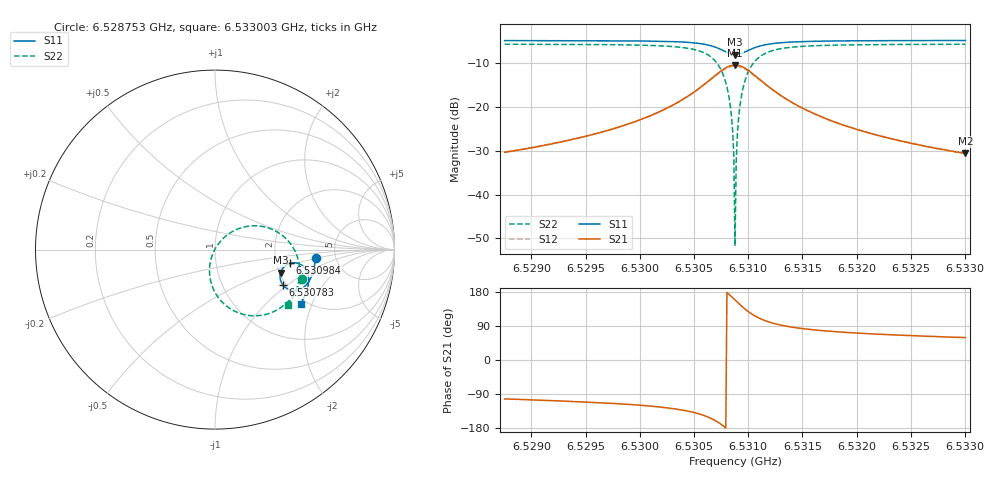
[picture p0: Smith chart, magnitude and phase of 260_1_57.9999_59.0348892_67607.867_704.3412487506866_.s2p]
#  HZ  S  RI  R  50.00
! Rohde & Schwarz Vector Network Analyzer
! Rohde-Schwarz,ZNB20-2Port,1311601062101988,3.16
! Created: UTC 3/21/2024, 1:01:56 AM
! freq[Hz]  re:S11  im:S11  re:S21  im:S21  re:S12  im:S12  re:S22  im:S22
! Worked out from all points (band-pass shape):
!   401 points, 6.528753 GHz to 6.533003 GHz, reference 50 ohm
!   highest |S21| = -10.55 dB at 6.530878 GHz (marker M1); lowest = -30.6 dB at 6.533003 GHz (marker M2)
!   |S21| within 3 dB of the highest: 6.530666 GHz to 6.531091 GHz (425.5 kHz wide, 0.00652 % of centre)
!   lowest |S11| = -8.2 dB at 6.530878 GHz (marker M3), VSWR 2.26, Z = 101 - j30.7 ohm
!   |S11| at or under -10 dB: nowhere
!   |S22| runs from -51.7 to -5.8 dB; largest |S21 - S12| = 0.012
!   S11 on the Smith chart (normalised r, x): 6.528753 GHz: 3.50, -0.48; 6.530783 GHz: 1.92, -0.92; 6.530984 GHz: 2.38, -0.44; 6.533003 GHz: 1.87, -1.65
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6.5287534e9  0.5602 -0.0468  -0.00666 -0.0295  -0.00718 -0.0294  0.4838 -0.1646
6.5294652e9  0.5509 -0.1058  -0.0157 -0.0419  -0.0167 -0.0417  0.4534 -0.229
6.530177e9  0.5242 -0.1758  -0.0483 -0.072  -0.0502 -0.0706  0.3736 -0.3183
6.530602e9  0.4555 -0.2263  -0.1528 -0.0975  -0.1551 -0.0913  0.1729 -0.3643
6.5307082e9  0.4118 -0.222  -0.2203 -0.072  -0.2197 -0.0629  0.0593 -0.3105
6.5307826e9  0.3775 -0.1959  -0.2701 -0.0153  -0.2648 -0.0056  -0.0146 -0.2065
6.5308144e9  0.367 -0.1764  -0.2833 0.0221  -0.2756 0.0305  -0.0295 -0.1422
6.5308357e9  0.3632 -0.1612  -0.2865 0.0502  -0.2775 0.0574  -0.0298 -0.0953
6.5308463e9  0.3624 -0.1532  -0.2863 0.0649  -0.2766 0.0714  -0.0264 -0.0711
6.5308569e9  0.3625 -0.1449  -0.2844 0.0798  -0.2742 0.0853  -0.0208 -0.0475
6.5308675e9  0.3635 -0.1367  -0.2811 0.0945  -0.2707 0.0991  -0.0127 -0.0239
6.5308782e9  0.3653 -0.1287  -0.2762 0.1089  -0.2658 0.1126  -0.00215 -0.00143
6.5308888e9  0.3681 -0.1208  -0.27 0.1226  -0.2595 0.1254  0.0103 0.0201
6.5308994e9  0.3716 -0.1133  -0.2626 0.1357  -0.2521 0.1375  0.0252 0.04
6.53091e9  0.3761 -0.1064  -0.2539 0.1482  -0.2436 0.1489  0.0412 0.0582
6.5309313e9  0.3864 -0.0942  -0.2336 0.1691  -0.2242 0.1685  0.0781 0.0891
6.5309844e9  0.4183 -0.0761  -0.1752 0.2003  -0.1687 0.1975  0.1797 0.1297
6.5310588e9  0.4599 -0.0761  -0.1024 0.2023  -0.0989 0.1997  0.3018 0.1192
6.531165e9  0.4963 -0.0976  -0.0396 0.1727  -0.0378 0.171  0.403 0.0537
6.53159e9  0.5223 -0.1765  0.0148 0.0836  0.016 0.0833  0.4716 -0.1333
6.5323018e9  0.5037 -0.2485  0.0171 0.0401  0.0179 0.0397  0.4426 -0.2477
6.5330029e9  0.4772 -0.3008  0.015 0.0252  0.0156 0.0248  0.4073 -0.3077
